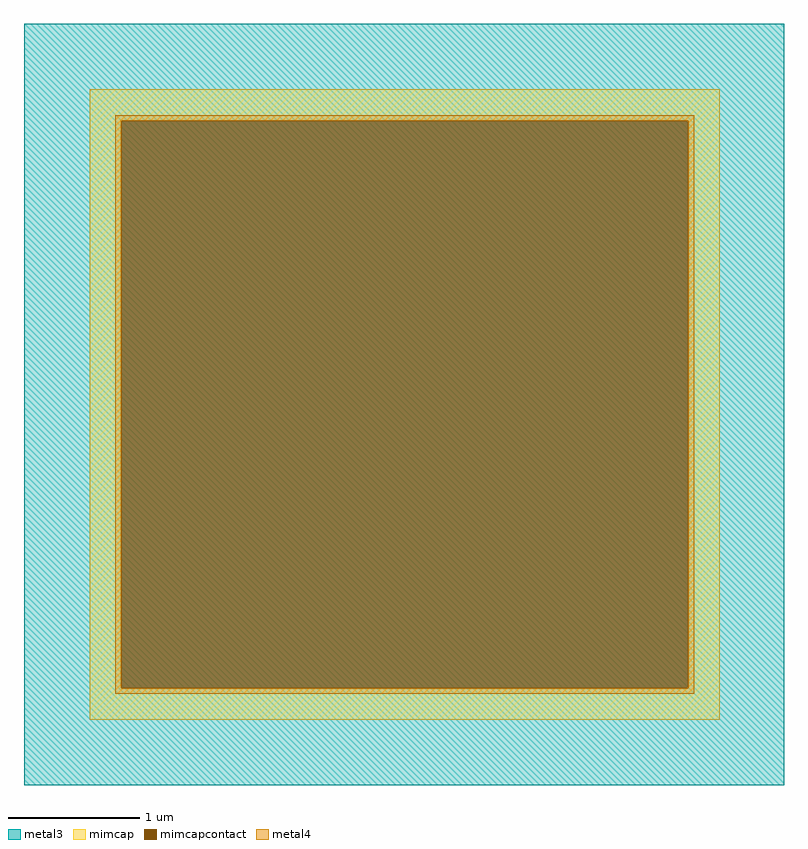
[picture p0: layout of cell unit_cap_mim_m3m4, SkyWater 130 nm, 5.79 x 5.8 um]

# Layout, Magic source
magic
tech sky130A
magscale 1 2
<< metal3 >>
rect -630 -580 528 580
<< mimcap >>
rect -530 432 430 480
rect -530 -432 -482 432
rect 382 -432 430 432
rect -530 -480 430 -432
<< mimcapcontact >>
rect -482 -432 382 432
<< metal4 >>
rect -491 432 391 441
rect -491 -432 -482 432
rect 382 -432 391 432
rect -491 -441 391 -432
<< properties >>
string FIXED_BBOX -630 -580 530 580
<< end >>
